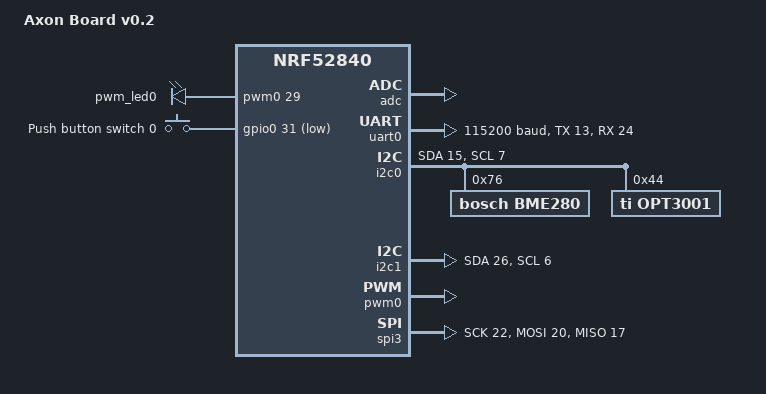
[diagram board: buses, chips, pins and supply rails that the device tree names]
/*
 * Copyright (c) 2021 Hyper Collective LTD
 */

/dts-v1/;
#include <nordic/nrf52840_qiaa.dtsi>

/ {
	model = "Axon Board v0.2";
	compatible = "nordic,nrf52840-dk-nrf52840";

	chosen {
		zephyr,console = &uart0;
		zephyr,shell-uart = &uart0;
		zephyr,uart-mcumgr = &uart0;
		zephyr,bt-mon-uart = &uart0;
		zephyr,bt-c2h-uart = &uart0;
		zephyr,sram = &sram0;
		zephyr,flash = &flash0;
		zephyr,code-partition = &slot0_partition;
	};

	pwmleds {
		compatible = "pwm-leds";
		pwm_led0: pwm_led_0 {
			pwms = <&pwm0 29>;
		};
	};

	buttons {
		compatible = "gpio-keys";
		button0: button_0 {
			gpios = <&gpio0 31 (GPIO_PULL_UP | GPIO_ACTIVE_LOW)>;
			label = "Push button switch 0";
		};
	};

	/* These aliases are provided for compatibility with samples */
	aliases {
		pwm-led0 = &pwm_led0;
		sw0 = &button0;
	};
};

&adc {
	status = "okay";
};

&gpiote {
	status = "okay";
};

&gpio0 {
	status = "okay";
};

&gpio1 {
	status = "okay";
};

&uart0 {
	compatible = "nordic,nrf-uarte";
	status = "okay";
	current-speed = <115200>;
	tx-pin = <13>;
	rx-pin = <24>;
};

&i2c0 {
	compatible = "nordic,nrf-twi";
	status = "okay";
	sda-pin = <15>;
	scl-pin = <7>;
	bme280@76 {
		compatible = "bosch,bme280";
		reg = <0x76>;
		label = "BME280";
	};
	opt3001@44 {
		compatible = "ti,opt3001";
		label = "OPT3001";
		reg = <0x44>;
	};
};

&i2c1 {
	compatible = "nordic,nrf-twi";
	/* Cannot be used together with spi1. */
	status = "okay";
	sda-pin = <26>;
	scl-pin = <6>;
};

&pwm0 {
	status = "okay";
	ch0-pin = <29>;
	ch0-inverted;
};

&spi3 {
	compatible = "nordic,nrf-spi";
	status = "okay";
	sck-pin = <22>;
	mosi-pin = <20>;
	miso-pin = <17>;
};

&flash0 {

	partitions {
		compatible = "fixed-partitions";
		#address-cells = <1>;
		#size-cells = <1>;

		boot_partition: partition@0 {
			label = "mcuboot";
			reg = <0x000000000 0x0000C000>;
		};
		slot0_partition: partition@c000 {
			label = "image-0";
			reg = <0x0000C000 0x00067000>;
		};
		slot1_partition: partition@73000 {
			label = "image-1";
			reg = <0x00073000 0x00067000>;
		};
		scratch_partition: partition@da000 {
			label = "image-scratch";
			reg = <0x000da000 0x0001e000>;
		};

		/*
		 * The flash starting at 0x000f8000 and ending at
		 * 0x000fffff is reserved for use by the application.
		 */

		/*
		 * Storage partition will be used by FCB/LittleFS/NVS
		 * if enabled.
		 */
		storage_partition: partition@f8000 {
			label = "storage";
			reg = <0x000f8000 0x00008000>;
		};
	};
};
